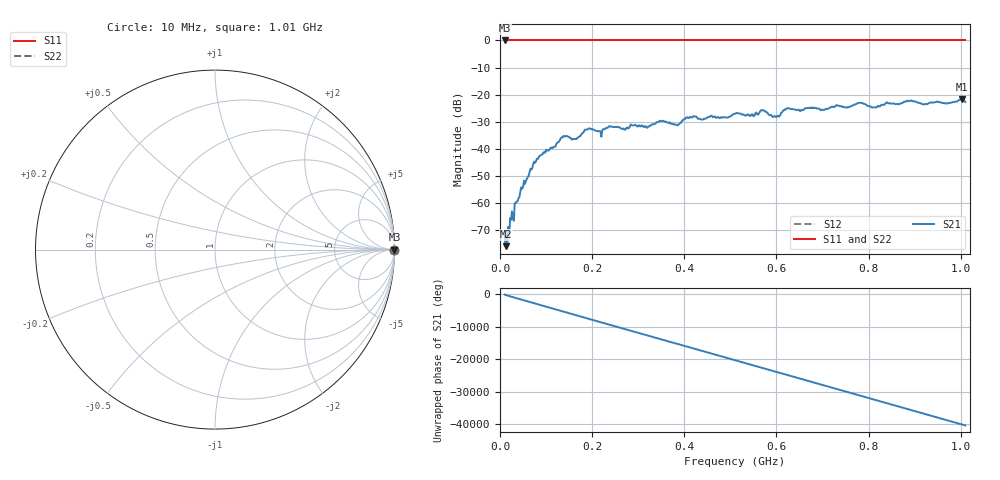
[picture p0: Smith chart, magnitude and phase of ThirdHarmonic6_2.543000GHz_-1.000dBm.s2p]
! 8/17/2025 5:09:02 AM
! C:\ANRITSUVNA\TEMP\TEMP.S2P
! CHANNEL.1
! TR.MEASUREMENT
! RAW.DATA
! RF.CORRECTION.OFF
! AVERAGING.OFF
! IF.BANDWIDTH: 5KHZ
! SWEEPTYPE:  FREQ.SWEEP(Linear)
! Reference Plane Port Info
! PORT:  PORT1  PORT2
! DISTANCE:  0  m  0  m
! TIME:  0  s  0  s
! PHASE.OFFSET:  0  deg.  0  deg.
! LOSS:  0  dB  0  dB
! REF.LOSS:  0  dB  0  dB
! REF.FREQ:  0  Hz  0  Hz
! Power Info
! POWER:  -20  dBm  -20  dBm
! EFF.POWER:  -20  dBm  -20  dBm
! SOURCE.ATTEN:  0  dB  0  dB
! TEST.ATTEN:  0  dB  0  dB
# GHZ S RI R 50.0
! FREQ.GHZ  S11RE  S11IM  S21RE  S21IM  S12RE  S12IM  S22RE  S22IM
!; PortSelection: Port_12
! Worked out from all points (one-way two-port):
!   501 points, 10 MHz to 1.01 GHz, reference 50 ohm
!   highest |S21| = -21.79 dB at 1.002 GHz (marker M1); lowest = -76.1 dB at 12 MHz (marker M2)
!   lowest |S11| = 0.0 dB at 10 MHz (marker M3)
!   |S11| at or under -10 dB: nowhere
!   |S22| runs from 0.0 to 0.0 dB; largest |S21 - S12| = 1.1
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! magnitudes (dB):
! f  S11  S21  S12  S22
! 10 MHz  0.0  -70.6  0.0  0.0
! 12 MHz  0.0  -76.1  0.0  0.0
! 16 MHz  0.0  -74.5  0.0  0.0
! 22 MHz  0.0  -65.7  0.0  0.0
! 48 MHz  0.0  -54.8  0.0  0.0
! 76 MHz  0.0  -45.2  0.0  0.0
! 136 MHz  0.0  -35.8  0.0  0.0
! 162 MHz  0.0  -36.4  0.0  0.0
! 178 MHz  0.0  -34.4  0.0  0.0
! 192 MHz  0.0  -32.6  0.0  0.0
! 216 MHz  0.0  -33.5  0.0  0.0
! 344 MHz  0.0  -30.1  0.0  0.0
! 382 MHz  0.0  -31.2  0.0  0.0
! 408 MHz  0.0  -28.6  0.0  0.0
! 510 MHz  0.0  -27.1  0.0  0.0
! 570 MHz  0.0  -25.8  0.0  0.0
! 596 MHz  0.0  -27.9  0.0  0.0
! 622 MHz  0.0  -25.2  0.0  0.0
! 678 MHz  0.0  -24.8  0.0  0.0
! 844 MHz  0.0  -23.3  0.0  0.0
! 1.002 GHz  0.0  -21.8  0.0  0.0
! 1.01 GHz  0.0  -22.7  0.0  0.0
